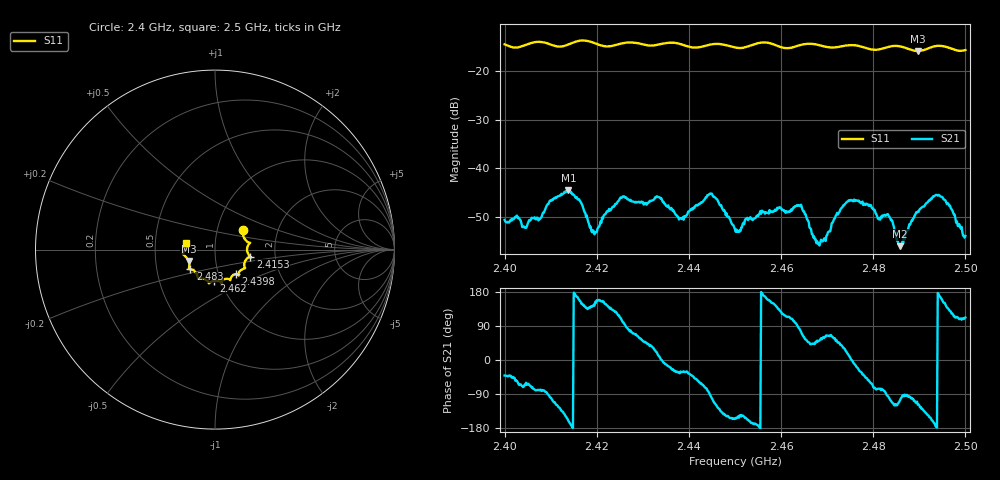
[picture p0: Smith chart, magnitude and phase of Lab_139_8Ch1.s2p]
# Hz S RI R 50
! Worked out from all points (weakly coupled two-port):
!   601 points, 2.4 GHz to 2.5 GHz, reference 50 ohm
!   highest |S21| = -44.54 dB at 2.4138 GHz (marker M1); lowest = -56.0 dB at 2.4858 GHz (marker M2)
!   lowest |S11| = -15.9 dB at 2.4897 GHz (marker M3), VSWR 1.38, Z = 36.9 - j4.82 ohm
!   |S11| at or under -10 dB: start of sweep to end of sweep
!   S12 and S22 are empty: the file has one direction only
!   S11 on the Smith chart (normalised r, x): 2.4 GHz: 1.33, +0.29; 2.4153 GHz: 1.48, -0.12; 2.4398 GHz: 1.21, -0.34; 2.462 GHz: 0.93, -0.33; 2.483 GHz: 0.74, -0.17; 2.5 GHz: 0.72, +0.06
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2.4e9  0.1552 0.1067  0.00222 -0.00193  0 0  0 0
2.404333e9  0.1784 0.0448  0.00103 -0.00223  0 0  0 0
2.413833e9  0.186 -0.0257  -0.00559 -0.00199  0 0  0 0
2.415333e9  0.1963 -0.0388  -0.00499 0.000662  0 0  0 0
2.416667e9  0.2019 -0.0427  -0.00371 0.00228  0 0  0 0
2.4195e9  0.1893 -0.0435  -0.00168 0.00125  0 0  0 0
2.4255e9  0.1659 -0.0985  -0.0012 0.00486  0 0  0 0
2.433333e9  0.1311 -0.1335  0.00494 0.00106  0 0  0 0
2.439833e9  0.1153 -0.1366  0.00293 -0.00206  0 0  0 0
2.444833e9  0.0846 -0.168  -0.000787 -0.00545  0 0  0 0
2.45e9  0.0644 -0.1626  -0.00212 -0.000984  0 0  0 0
2.462e9  -0.00497 -0.1733  -0.00123 0.00339  0 0  0 0
2.464167e9  -0.0281 -0.183  0.000833 0.004  0 0  0 0
2.466667e9  -0.0342 -0.1876  0.00156 0.00143  0 0  0 0
2.469333e9  -0.0423 -0.1742  0.001 0.00161  0 0  0 0
2.474833e9  -0.0915 -0.1604  0.00455 0.000707  0 0  0 0
2.483e9  -0.1376 -0.1095  -0.000211 -0.00336  0 0  0 0
2.483333e9  -0.14 -0.1093  -0.000432 -0.00322  0 0  0 0
2.485833e9  -0.1457 -0.105  -0.000426 -0.00152  0 0  0 0
2.489667e9  -0.1474 -0.0637  -0.00168 -0.00317  0 0  0 0
2.4945e9  -0.1805 -0.0212  -0.00507 0.00114  0 0  0 0
2.5e9  -0.1598 0.0391  -0.000758 0.00186  0 0  0 0
